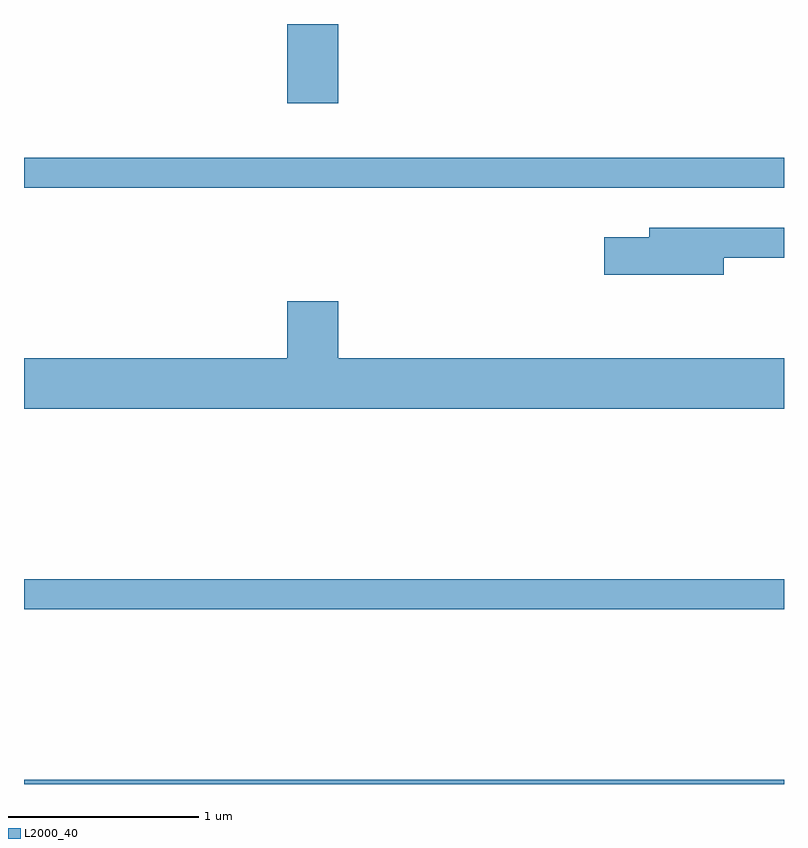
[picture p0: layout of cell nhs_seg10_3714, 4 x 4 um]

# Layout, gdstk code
import gdstk
lib = gdstk.Library(unit=1e-6, precision=1e-09)
def R(c, l, rs):  # rectangles x0, y0, x1, y1
    for r in rs: c.add(gdstk.rectangle(r[:2], r[2:], *l))
def P(c, l, *ps):  # polygons
    for p in ps: c.add(gdstk.Polygon(p, *l))
L2000_40 = (2000, 40)

nhs_seg10_3714 = lib.new_cell('nhs_seg10_3714')
R(nhs_seg10_3714, L2000_40, [(293.611,2198.522,297.611,2198.544), (293.611,2199.441,297.611,2199.599), (293.611,2201.661,297.611,2201.819), (294.996,2202.106,295.264,2202.522)])
P(nhs_seg10_3714, L2000_40, [(297.294,2201.291),(297.611,2201.291),(297.611,2201.449),(296.901,2201.449),(296.901,2201.399),(296.666,2201.399),(296.666,2201.201),(297.294,2201.201)],
  [(297.611,2200.764),(295.264,2200.764),(295.264,2201.064),(294.996,2201.064),(294.996,2200.764),(293.611,2200.764),(293.611,2200.496),(297.611,2200.496)])

lib.write_gds('nhs_seg10_3714.gds')
